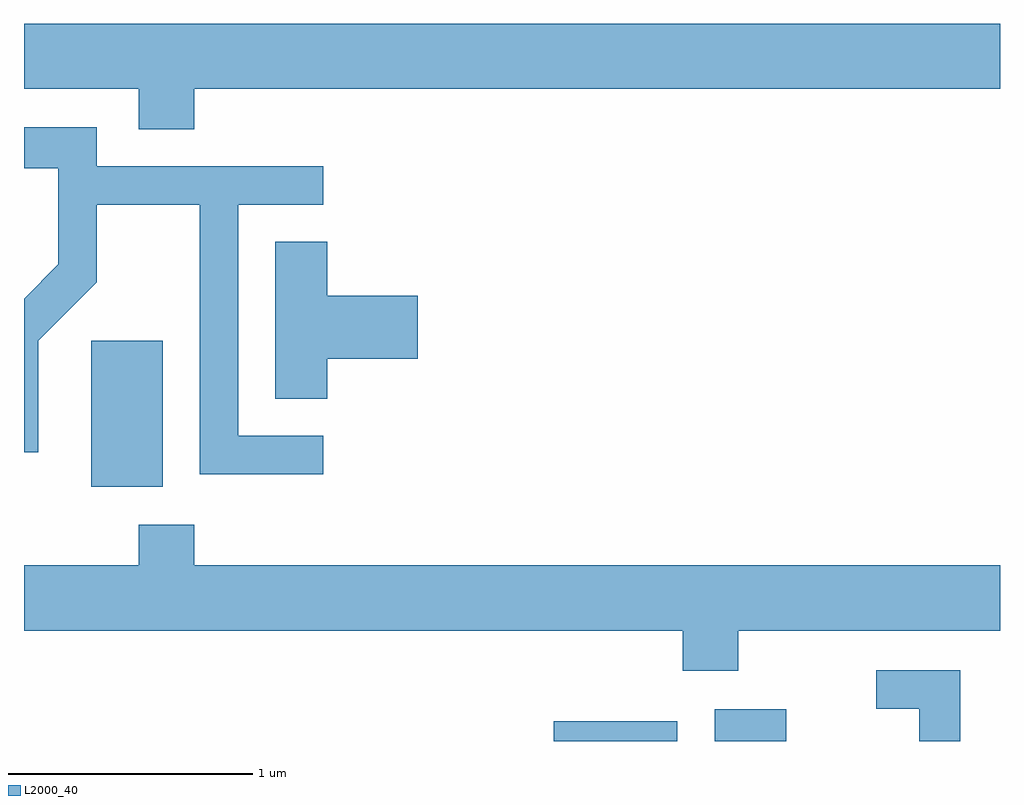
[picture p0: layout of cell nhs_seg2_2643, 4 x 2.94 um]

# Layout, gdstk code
import gdstk
lib = gdstk.Library(unit=1e-6, precision=1e-09)
def R(c, l, rs):  # rectangles x0, y0, x1, y1
    for r in rs: c.add(gdstk.rectangle(r[:2], r[2:], *l))
def P(c, l, *ps):  # polygons
    for p in ps: c.add(gdstk.Polygon(p, *l))
L2000_40 = (2000, 40)

nhs_seg2_2643 = lib.new_cell('nhs_seg2_2643')
R(nhs_seg2_2643, L2000_40, [(263.783,1107.802,264.289,1107.884), (264.441,1107.802,264.734,1107.934), (261.886,1108.846,262.179,1109.444)])
P(nhs_seg2_2643, L2000_40, [(262.309,1110.476),(265.611,1110.476),(265.611,1110.744),(261.611,1110.744),(261.611,1110.476),(262.081,1110.476),(262.081,1110.311),(262.309,1110.311)],
  [(262.838,1109.054),(262.489,1109.054),(262.489,1110.001),(262.838,1110.001),(262.838,1110.159),(261.909,1110.159),(261.909,1110.319),(261.611,1110.319),(261.611,1110.151),(261.751,1110.151),(261.751,1109.757),(261.611,1109.617),(261.611,1108.988),(261.669,1108.988),(261.669,1109.444),(261.909,1109.684),(261.909,1110.001),(262.331,1110.001),(262.331,1108.896),(262.838,1108.896)],
  [(262.854,1109.371),(263.224,1109.371),(263.224,1109.629),(262.854,1109.629),(262.854,1109.849),(262.641,1109.849),(262.641,1109.206),(262.854,1109.206)],
  [(264.539,1108.256),(265.611,1108.256),(265.611,1108.524),(262.309,1108.524),(262.309,1108.689),(262.081,1108.689),(262.081,1108.524),(261.611,1108.524),(261.611,1108.256),(264.311,1108.256),(264.311,1108.091),(264.539,1108.091)],
  [(265.449,1108.094),(265.103,1108.094),(265.103,1107.936),(265.281,1107.936),(265.281,1107.802),(265.449,1107.802)])

lib.write_gds('nhs_seg2_2643.gds')
